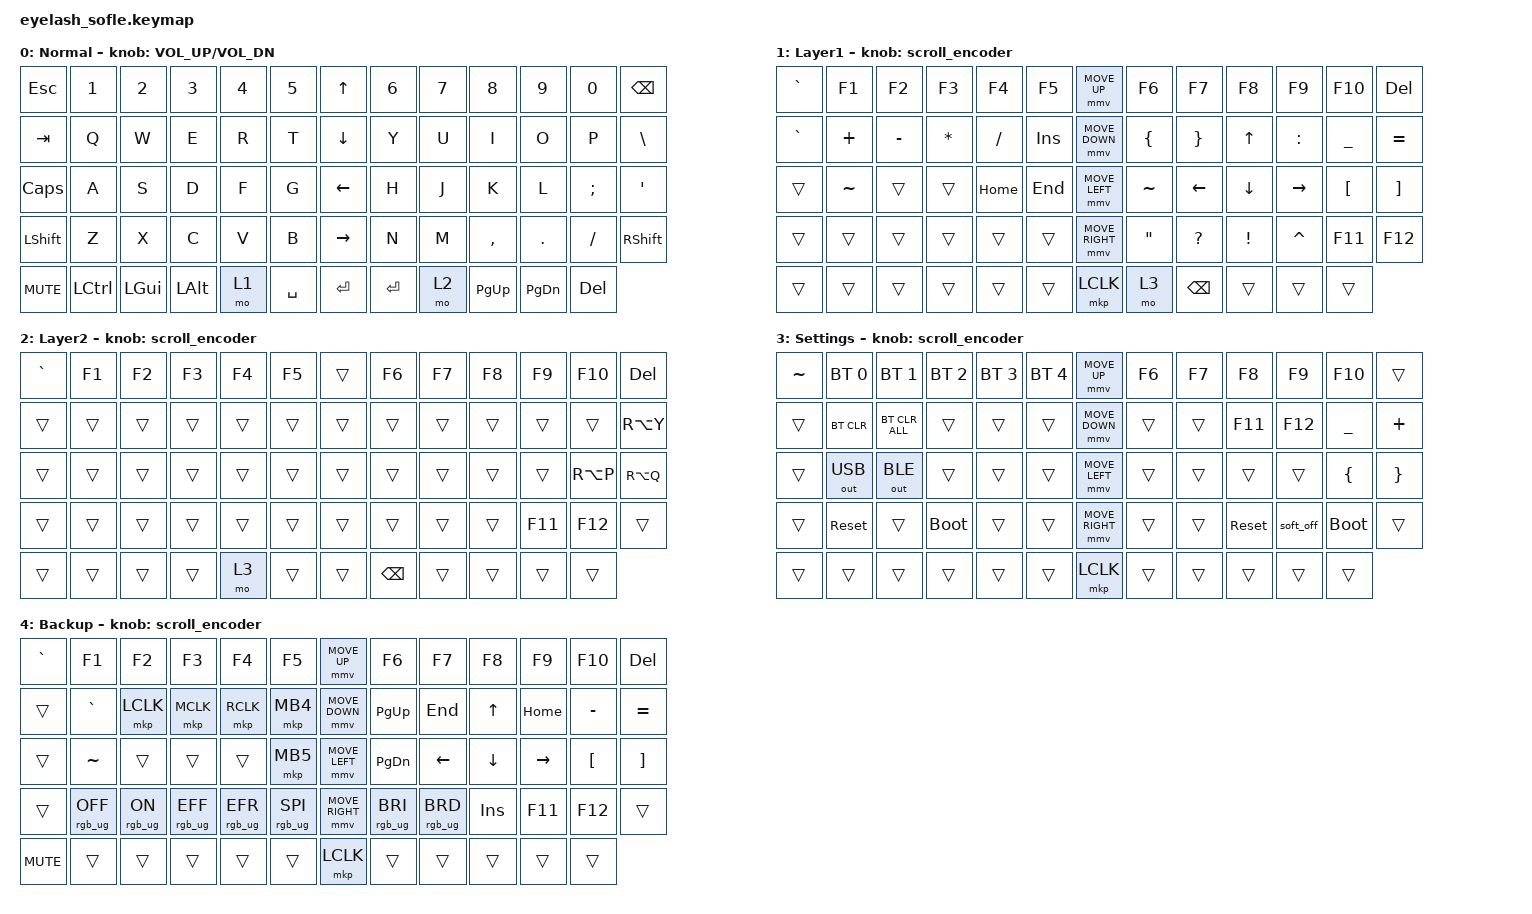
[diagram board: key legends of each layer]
#define ZMK_POINTING_DEFAULT_MOVE_VAL 1200  // 600
#define ZMK_POINTING_DEFAULT_SCRL_VAL 25   // 10

#include <input/processors.dtsi>
#include <zephyr/dt-bindings/input/input-event-codes.h>
#include <behaviors.dtsi>
#include <dt-bindings/zmk/bt.h>
#include <dt-bindings/zmk/keys.h>
#include <dt-bindings/zmk/outputs.h>
#include <dt-bindings/zmk/pointing.h>
#include <dt-bindings/zmk/rgb.h>

&mmv_input_listener { input-processors = <&zip_xy_scaler 2 1>; };

&msc_input_listener { input-processors = <&zip_scroll_scaler 2 1>; };

&msc {
    acceleration-exponent = <1>;      // 0
    time-to-max-speed-ms = <100>;       // 300
    delay-ms = <0>;                   // 0
};

&mmv {
    time-to-max-speed-ms = <500>;
    acceleration-exponent = <1>;
    trigger-period-ms = <16>;
};

&soft_off { hold-time-ms = <2000>; };

/ {
    scroll_encoder: scroll_encoder {
        compatible = "zmk,behavior-sensor-rotate";
        #sensor-binding-cells = <0>;
        bindings = <&msc SCRL_DOWN>, <&msc SCRL_UP>;

        tap-ms = <100>;
    };

    behaviors {
    };

    combos { compatible = "zmk,combos"; };

    keymap {
        compatible = "zmk,keymap";

        Normal {
            bindings = <
&kp ESC     &kp N1     &kp N2        &kp N3        &kp N4  &kp N5       &kp UP_ARROW     &kp N6     &kp N7  &kp N8       &kp N9         &kp N0      &kp BACKSPACE
&kp TAB     &kp Q      &kp W         &kp E         &kp R   &kp T        &kp DOWN_ARROW   &kp Y      &kp U   &kp I        &kp O          &kp P       &kp BSLH
&kp CAPS    &kp A      &kp S         &kp D         &kp F   &kp G        &kp LEFT_ARROW   &kp H      &kp J   &kp K        &kp L          &kp SEMI    &kp APOS
&kp LSHFT   &kp Z      &kp X         &kp C         &kp V   &kp B        &kp RIGHT_ARROW  &kp N      &kp M   &kp COMMA    &kp DOT        &kp FSLH    &kp RIGHT_SHIFT
&kp C_MUTE  &kp LCTRL  &kp LEFT_GUI  &kp LEFT_ALT  &mo 1   &kp SPACE    &kp ENTER        &kp ENTER  &mo 2   &kp PAGE_UP  &kp PAGE_DOWN  &kp DELETE
            >;

            sensor-bindings = <&inc_dec_kp C_VOLUME_UP C_VOL_DN>;
            display-name = "Normal";
        };

        layer_1 {
            bindings = <
&kp GRAVE  &kp F1     &kp F2     &kp F3    &kp F4     &kp F5        &mmv MOVE_UP     &kp F6             &kp F7           &kp F8    &kp F9     &kp F10    &kp DELETE
&kp GRAVE  &kp PLUS   &kp MINUS  &kp STAR  &kp SLASH  &kp INSERT    &mmv MOVE_DOWN   &kp LEFT_BRACE     &kp RIGHT_BRACE  &kp UP    &kp COLON  &kp UNDER  &kp EQUAL
&trans     &kp TILDE  &trans     &trans    &kp HOME   &kp END       &mmv MOVE_LEFT   &kp TILDE          &kp LEFT         &kp DOWN  &kp RIGHT  &kp LBKT   &kp RBKT
&trans     &trans     &trans     &trans    &trans     &trans        &mmv MOVE_RIGHT  &kp DOUBLE_QUOTES  &kp QUESTION     &kp EXCL  &kp CARET  &kp F11    &kp F12
&trans     &trans     &trans     &trans    &trans     &trans        &mkp LCLK        &mo 3              &kp BACKSPACE    &trans    &trans     &trans
            >;

            label = "Layer1";
            sensor-bindings = <&scroll_encoder>;
        };

        layer_2 {
            bindings = <
&kp GRAVE  &kp F1  &kp F2  &kp F3  &kp F4  &kp F5    &trans  &kp F6         &kp F7  &kp F8  &kp F9   &kp F10    &kp DELETE
&trans     &trans  &trans  &trans  &trans  &trans    &trans  &trans         &trans  &trans  &trans   &trans     &kp RA(Y)
&trans     &trans  &trans  &trans  &trans  &trans    &trans  &trans         &trans  &trans  &trans   &kp RA(P)  &kp RA(Q)
&trans     &trans  &trans  &trans  &trans  &trans    &trans  &trans         &trans  &trans  &kp F11  &kp F12    &trans
&trans     &trans  &trans  &trans  &mo 3   &trans    &trans  &kp BACKSPACE  &trans  &trans  &trans   &trans
            >;

            label = "Layer2";
            sensor-bindings = <&scroll_encoder>;
        };

        Settings {
            bindings = <
&kp TILDE  &bt BT_SEL 0  &bt BT_SEL 1    &bt BT_SEL 2  &bt BT_SEL 3  &bt BT_SEL 4    &mmv MOVE_UP     &kp F6  &kp F7  &kp F8      &kp F9     &kp F10      &trans
&trans     &bt BT_CLR    &bt BT_CLR_ALL  &trans        &trans        &trans          &mmv MOVE_DOWN   &trans  &trans  &kp F11     &kp F12    &kp UNDER    &kp PLUS
&trans     &out OUT_USB  &out OUT_BLE    &trans        &trans        &trans          &mmv MOVE_LEFT   &trans  &trans  &trans      &trans     &kp LBRC     &kp RBRC
&trans     &sys_reset    &trans          &bootloader   &trans        &trans          &mmv MOVE_RIGHT  &trans  &trans  &sys_reset  &soft_off  &bootloader  &trans
&trans     &trans        &trans          &trans        &trans        &trans          &mkp LCLK        &trans  &trans  &trans      &trans     &trans
            >;

            display-name = "Settings";
            sensor-bindings = <&scroll_encoder>;
        };

        Backup {
            bindings = <
&kp GRAVE   &kp F1           &kp F2          &kp F3           &kp F4           &kp F5             &mmv MOVE_UP     &kp F6           &kp F7           &kp F8      &kp F9     &kp F10           &kp DELETE
&trans      &kp GRAVE        &mkp LCLK       &mkp MCLK        &mkp RCLK        &mkp MB4           &mmv MOVE_DOWN   &kp PG_UP        &kp END          &kp UP      &kp HOME   &kp MINUS         &kp EQUAL
&trans      &kp TILDE        &trans          &trans           &trans           &mkp MB5           &mmv MOVE_LEFT   &kp PG_DN        &kp LEFT         &kp DOWN    &kp RIGHT  &kp LEFT_BRACKET  &kp RIGHT_BRACKET
&trans      &rgb_ug RGB_OFF  &rgb_ug RGB_ON  &rgb_ug RGB_EFF  &rgb_ug RGB_EFR  &rgb_ug RGB_SPI    &mmv MOVE_RIGHT  &rgb_ug RGB_BRI  &rgb_ug RGB_BRD  &kp INSERT  &kp F11    &kp F12           &trans
&kp C_MUTE  &trans           &trans          &trans           &trans           &trans             &mkp LCLK        &trans           &trans           &trans      &trans     &trans
            >;

            display-name = "Backup";
            sensor-bindings = <&scroll_encoder>;
        };
    };
};
